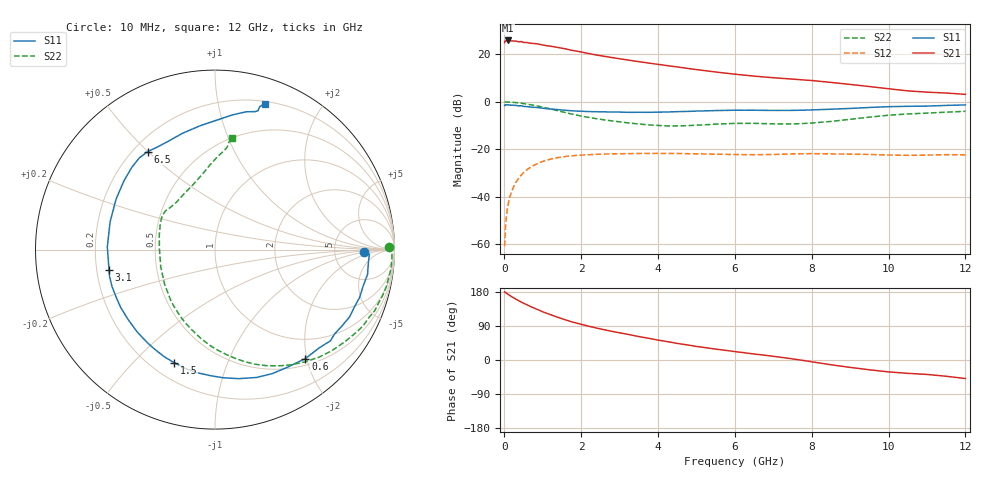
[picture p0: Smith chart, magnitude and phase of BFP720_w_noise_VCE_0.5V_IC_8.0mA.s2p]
! Infineon Technologies  Discrete & RF Semiconductors
! BFP720
! VCE =  0.5 V,  IC =  8.0 mA
! Common Emitter S-Parameters:  Aug 2012
# GHz  S  MA  R  50
!  f  S11  S21  S12  S22
! GHz  MAG  ANG  MAG  ANG  MAG  ANG  MAG  ANG
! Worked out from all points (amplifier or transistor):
!   105 points, 10 MHz to 12 GHz, reference 50 ohm
!   highest |S21| = 25.8 dB at 100 MHz (marker M1)
!   |S21| within 3 dB of that: start of sweep to 1.412 GHz
!   unconditionally stable (mu >= 1): start of sweep to 12.45 MHz; 6.038 GHz to end of sweep
!   at 300 MHz: K = 0.06, MSG = 29.8 dB, |S12| = -34.1 dB
!   at 3.6 GHz: K = 0.63, MSG = 19.2 dB, |S12| = -21.8 dB
!   at 12 GHz: K = 1.07, MAG = 11.1 dB, |S12| = -22.4 dB
!   lowest NFmin = 0.48 dB at 450 MHz
!   S11 on the Smith chart (normalised r, x): 10 MHz: 11, -1; 600 MHz: 0.62, -1.98; 1.5 GHz: 0.29, -0.66; 3.1 GHz: 0.25, -0.09; 6.5 GHz: 0.26, +0.50; 12 GHz: 0.23, +1.38
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0.01  0.8297 -0.8  17.63 179.8  0.0009 2.7  0.9671 1.0
0.02  0.8604 -1.8  19.12 178.9  0.0014 81.5  0.9863 -1.0
0.1  0.8611 -9.3  19.6 173.4  0.0067 84.4  0.9868 -6.0
0.3  0.8385 -26.5  19.07 160.8  0.0198 76.0  0.9586 -18.1
0.4  0.8151 -35.3  18.35 155.3  0.0259 71.8  0.9366 -24.0
0.45  0.8198 -38.3  18.61 152.6  0.0288 69.7  0.9291 -26.8
0.5  0.7984 -43.2  17.84 150.1  0.0317 67.8  0.9162 -29.7
0.6  0.7886 -50.3  17.69 145.4  0.0373 63.6  0.8876 -35.3
0.9  0.7491 -72.0  16.4 131.8  0.0511 52.4  0.8015 -51.3
1.2  0.7028 -92.1  14.86 119.9  0.0614 42.4  0.7067 -66.2
1.5  0.6698 -109.9  13.43 109.0  0.0683 34.0  0.616 -79.5
1.8  0.6417 -125.7  11.97 99.5  0.0729 27.1  0.5416 -91.8
2.1  0.6244 -137.6  10.79 91.8  0.0757 21.5  0.4824 -102.4
2.6  0.6112 -154.5  9.095 79.9  0.0787 14.0  0.4151 -118.4
3.1  0.6014 -169.0  7.836 69.9  0.0803 8.1  0.3681 -133.2
4.1  0.6052 162.7  5.991 50.9  0.0813 -1.6  0.313 -166.2
5  0.6356 142.9  4.766 35.7  0.0797 -8.6  0.3208 165.4
6.1  0.662 128.5  3.742 21.0  0.0769 -13.7  0.3496 146.2
6.5  0.6623 124.4  3.473 15.9  0.0764 -14.7  0.3502 141.9
8.5  0.6952 96.8  2.557 -12.5  0.0795 -24.8  0.384 108.1
10.5  0.8006 73.8  1.695 -35.2  0.074 -32.1  0.5526 84.8
12  0.8569 71.1  1.433 -48.9  0.0759 -37.6  0.628 81.2
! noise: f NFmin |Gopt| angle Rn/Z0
0.45  0.48  0.35  2  0.16
1.8  0.54  0.32  22  0.14
2.4  0.59  0.26  45  0.25
5.5  0.73  0.14  40  0.14
10  0.95  0.39  -84  0.22
